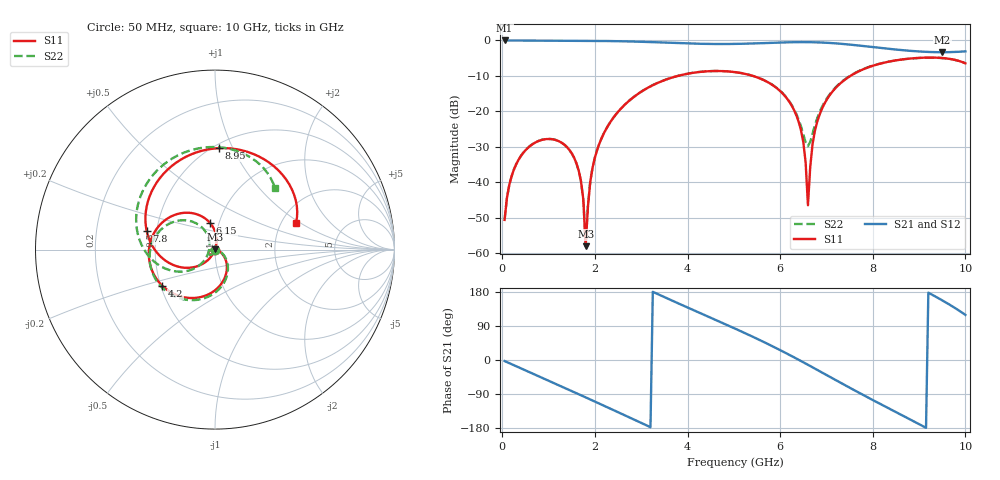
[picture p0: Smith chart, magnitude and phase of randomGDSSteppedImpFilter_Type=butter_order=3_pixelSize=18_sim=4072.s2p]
! freq	dB(S11)	phase(S11)	dB(S12)	phase(S12)
!  dB(S21)	phase(S21)	dB(S22)	phase(S22)
!S-par simulation data
#  GHz  S  DB  R 50
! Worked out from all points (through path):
!   200 points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, 50 MHz to 10 GHz, reference 50 ohm
!   highest |S21| = 0.00 dB at 50 MHz (marker M1); lowest = -3.3 dB at 9.5 GHz (marker M2)
!   group delay of S21, straight-line fit = 165 ps
!   lowest |S11| = -58.0 dB at 1.8 GHz (marker M3), VSWR 1.00, Z = 49.9 + j0.104 ohm
!   |S11| at or under -10 dB: start of sweep to 3.791 GHz; 5.411 GHz to 7.516 GHz (2.105 GHz wide, 32.6 % of centre)
!   |S22| runs from -57.4 to -4.9 dB; largest |S21 - S12| = 0
!   S11 on the Smith chart (normalised r, x): 50 MHz: 1.00, -0.01; 4.2 GHz: 0.51, -0.24; 6.15 GHz: 0.91, +0.28; 7.8 GHz: 0.44, +0.11; 8.95 GHz: 0.53, +0.88; 10 GHz: 2.39, +0.93
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0.05  -50.57 -88.9  -0.00 -2.8  -0.00 -2.8  -50.40 -90.7
0.3  -34.88 -105.5  -0.03 -16.5  -0.03 -16.5  -34.88 -105.2
0.85  -28.04 -136.9  -0.06 -46.5  -0.06 -46.5  -28.01 -136.4
1.45  -30.86 -171.2  -0.09 -79.3  -0.09 -79.3  -30.88 -170.4
1.75  -44.85 166.8  -0.11 -95.8  -0.11 -95.8  -44.99 165.2
1.8  -57.97 124.7  -0.12 -98.6  -0.12 -98.6  -57.36 114.0
1.9  -39.81 -12.2  -0.12 -104.1  -0.12 -104.1  -39.66 -8.6
2.15  -27.38 -29.0  -0.15 -118.1  -0.15 -118.1  -27.35 -26.3
3.4  -11.71 -101.0  -0.55 171.5  -0.55 171.5  -11.70 -96.4
4.2  -8.97 -145.4  -0.92 127.7  -0.92 127.7  -8.96 -139.0
5.05  -8.97 167.6  -0.97 81.5  -0.97 81.5  -8.96 177.1
6.15  -16.41 100.6  -0.53 16.7  -0.53 16.7  -16.31 121.7
6.45  -25.32 80.4  -0.47 -2.7  -0.47 -2.7  -24.24 122.4
6.55  -34.32 73.8  -0.48 -9.3  -0.48 -9.3  -28.73 146.5
6.6  -46.42 148.9  -0.48 -12.6  -0.48 -12.6  -29.81 172.3
6.7  -29.18 -117.4  -0.50 -19.3  -0.50 -19.3  -26.24 -146.2
7.05  -15.80 -142.1  -0.69 -42.9  -0.69 -42.9  -15.52 -138.9
7.8  -8.10 165.0  -1.57 -92.7  -1.57 -92.7  -8.04 179.6
8.35  -5.97 127.6  -2.37 -128.0  -2.37 -128.0  -5.95 147.1
8.95  -4.95 87.9  -3.06 -166.0  -3.06 -166.0  -4.97 111.7
9.5  -4.95 51.6  -3.32 157.4  -3.32 157.4  -4.98 78.2
10  -6.45 18.4  -3.08 119.1  -3.08 119.1  -6.40 45.8
